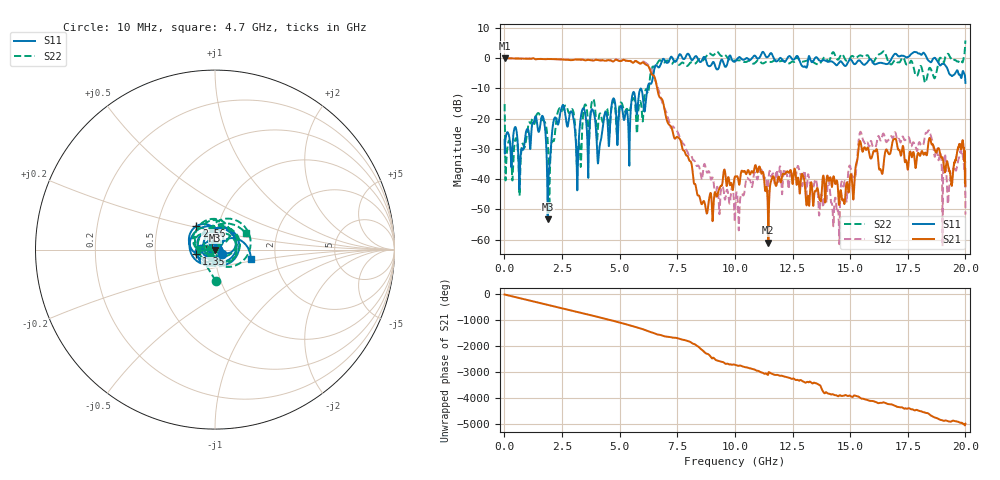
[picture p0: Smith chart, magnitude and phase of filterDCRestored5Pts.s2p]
! File created by SignalIntegrity v1.2.1: Signal and Power Integrity Tools
! https://github.com/TeledyneLeCroy/SignalIntegrity
# MHz S MA R 50.0
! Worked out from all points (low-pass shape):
!   2000 points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, 10 MHz to 20 GHz, reference 50 ohm
!   highest |S21| = 0.00 dB at 30 MHz (marker M1); lowest = -61.0 dB at 11.45 GHz (marker M2)
!   |S21| within 3 dB of the highest: start of sweep to 6.272 GHz
!   lowest |S11| = -53.3 dB at 1.88 GHz (marker M3), VSWR 1.00, Z = 49.9 - j0.174 ohm
!   |S11| at or under -10 dB: start of sweep to 6.208 GHz
!   |S22| runs from -50.9 to 5.8 dB; largest |S21 - S12| = 0.11
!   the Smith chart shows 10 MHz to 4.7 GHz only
!   S11 on the Smith chart (normalised r, x): 10 MHz: 1.08, -0.05; 1.35 GHz: 0.81, -0.04; 2.56 GHz: 0.79, +0.21; 4.7 GHz: 1.49, -0.16
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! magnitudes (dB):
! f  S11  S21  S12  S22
! 10 MHz  -27.0  0.0  0.0  -15.2
! 30 MHz  -27.9  0.0  0.0  -27.5
! 680 MHz  -36.0  -0.1  -0.1  -39.3
! 1.35 GHz  -19.2  -0.4  -0.4  -20.1
! 1.69 GHz  -19.7  -0.3  -0.3  -20.6
! 1.88 GHz  -53.3  -0.3  -0.3  -27.4
! 2.56 GHz  -15.6  -0.5  -0.5  -16.6
! 3.16 GHz  -43.7  -0.5  -0.5  -35.0
! 3.35 GHz  -18.0  -0.5  -0.5  -28.1
! 4.11 GHz  -30.5  -0.7  -0.6  -19.0
! 4.7 GHz  -13.7  -1.1  -1.0  -14.3
! 5.38 GHz  -22.9  -1.0  -0.9  -17.6
! 6.68 GHz  -3.1  -11.8  -10.2  -1.1
! 8.73 GHz  -0.3  -49.4  -36.1  0.3
! 10.01 GHz  -1.1  -39.1  -52.0  -0.8
! 11.45 GHz  0.5  -61.0  -41.1  -1.3
! 13.34 GHz  -1.3  -42.1  -42.8  -1.0
! 14.47 GHz  -2.0  -43.0  -50.2  -0.5
! 15.45 GHz  -1.1  -27.7  -24.3  0.9
! 16.67 GHz  -1.7  -31.6  -27.0  -1.4
! 18.4 GHz  -0.8  -27.7  -23.9  -4.0
! 20 GHz  -8.2  -42.2  -51.7  5.8
